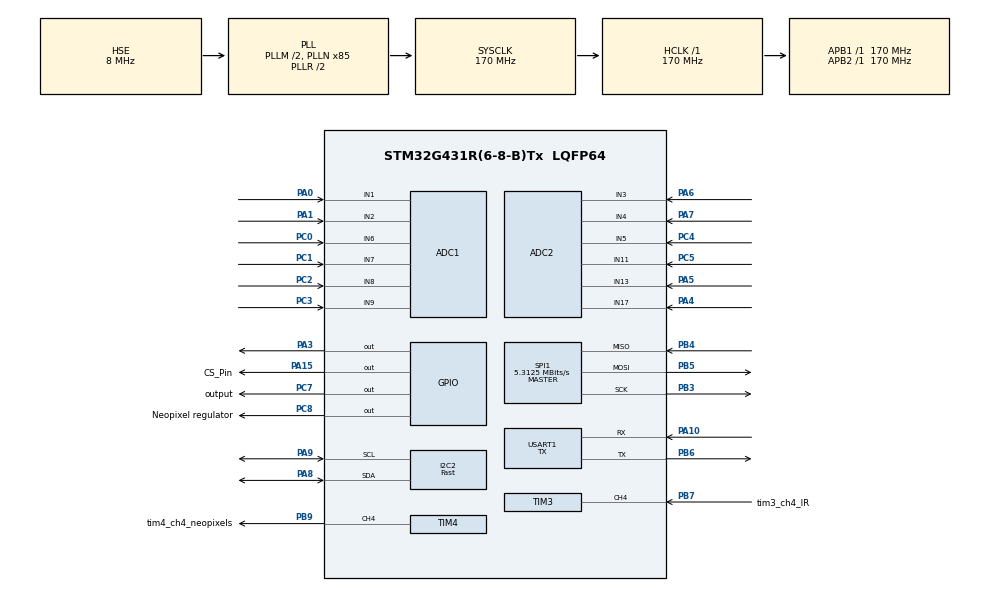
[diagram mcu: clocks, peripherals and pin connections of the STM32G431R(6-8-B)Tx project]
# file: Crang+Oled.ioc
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ADC1.Channel-0\#ChannelRegularConversion=ADC_CHANNEL_2
ADC1.Channel-1\#ChannelRegularConversion=ADC_CHANNEL_1
ADC1.Channel-2\#ChannelRegularConversion=ADC_CHANNEL_9
ADC1.Channel-3\#ChannelRegularConversion=ADC_CHANNEL_8
ADC1.Channel-4\#ChannelRegularConversion=ADC_CHANNEL_7
ADC1.Channel-5\#ChannelRegularConversion=ADC_CHANNEL_6
ADC1.ContinuousConvMode=DISABLE
ADC1.DMAContinuousRequests=ENABLE
ADC1.EOCSelection=ADC_EOC_SEQ_CONV
ADC1.ExternalTrigConv=ADC_EXTERNALTRIG_T1_TRGO
ADC1.Mode=ADC_MODE_INDEPENDENT
ADC1.NbrOfConversion=6
ADC1.NbrOfConversionFlag=1
ADC1.OffsetNumber-0\#ChannelRegularConversion=ADC_OFFSET_NONE
ADC1.OffsetNumber-1\#ChannelRegularConversion=ADC_OFFSET_NONE
ADC1.OffsetNumber-2\#ChannelRegularConversion=ADC_OFFSET_NONE
ADC1.OffsetNumber-3\#ChannelRegularConversion=ADC_OFFSET_NONE
ADC1.OffsetNumber-4\#ChannelRegularConversion=ADC_OFFSET_NONE
ADC1.OffsetNumber-5\#ChannelRegularConversion=ADC_OFFSET_NONE
ADC1.OversamplingMode=ENABLE
ADC1.Rank-0\#ChannelRegularConversion=1
ADC1.Rank-1\#ChannelRegularConversion=2
ADC1.Rank-2\#ChannelRegularConversion=3
ADC1.Rank-3\#ChannelRegularConversion=4
ADC1.Rank-4\#ChannelRegularConversion=5
ADC1.Rank-5\#ChannelRegularConversion=6
ADC1.Ratio=ADC_OVERSAMPLING_RATIO_16
ADC1.RightBitShift=ADC_RIGHTBITSHIFT_4
ADC1.SamplingTime-0\#ChannelRegularConversion=ADC_SAMPLETIME_2CYCLES_5
ADC1.SamplingTime-1\#ChannelRegularConversion=ADC_SAMPLETIME_2CYCLES_5
ADC1.SamplingTime-2\#ChannelRegularConversion=ADC_SAMPLETIME_2CYCLES_5
ADC1.SamplingTime-3\#ChannelRegularConversion=ADC_SAMPLETIME_2CYCLES_5
ADC1.SamplingTime-4\#ChannelRegularConversion=ADC_SAMPLETIME_2CYCLES_5
ADC1.SamplingTime-5\#ChannelRegularConversion=ADC_SAMPLETIME_2CYCLES_5
ADC1.master=1
ADC2.Channel-0\#ChannelRegularConversion=ADC_CHANNEL_11
ADC2.Channel-1\#ChannelRegularConversion=ADC_CHANNEL_5
ADC2.Channel-2\#ChannelRegularConversion=ADC_CHANNEL_4
ADC2.Channel-3\#ChannelRegularConversion=ADC_CHANNEL_3
ADC2.Channel-4\#ChannelRegularConversion=ADC_CHANNEL_13
ADC2.Channel-5\#ChannelRegularConversion=ADC_CHANNEL_17
ADC2.ContinuousConvMode=DISABLE
ADC2.DMAContinuousRequests=ENABLE
ADC2.EOCSelection=ADC_EOC_SEQ_CONV
ADC2.ExternalTrigConv=ADC_EXTERNALTRIG_T1_TRGO
ADC2.NbrOfConversion=6
ADC2.NbrOfConversionFlag=1
ADC2.OffsetNumber-0\#ChannelRegularConversion=ADC_OFFSET_NONE
ADC2.OffsetNumber-1\#ChannelRegularConversion=ADC_OFFSET_NONE
ADC2.OffsetNumber-2\#ChannelRegularConversion=ADC_OFFSET_NONE
ADC2.OffsetNumber-3\#ChannelRegularConversion=ADC_OFFSET_NONE
ADC2.OffsetNumber-4\#ChannelRegularConversion=ADC_OFFSET_NONE
ADC2.OffsetNumber-5\#ChannelRegularConversion=ADC_OFFSET_NONE
ADC2.OversamplingMode=ENABLE
ADC2.Rank-0\#ChannelRegularConversion=1
ADC2.Rank-1\#ChannelRegularConversion=2
ADC2.Rank-2\#ChannelRegularConversion=3
ADC2.Rank-3\#ChannelRegularConversion=4
ADC2.Rank-4\#ChannelRegularConversion=5
ADC2.Rank-5\#ChannelRegularConversion=6
ADC2.Ratio=ADC_OVERSAMPLING_RATIO_16
ADC2.RightBitShift=ADC_RIGHTBITSHIFT_4
ADC2.SamplingTime-0\#ChannelRegularConversion=ADC_SAMPLETIME_2CYCLES_5
ADC2.SamplingTime-1\#ChannelRegularConversion=ADC_SAMPLETIME_2CYCLES_5
ADC2.SamplingTime-2\#ChannelRegularConversion=ADC_SAMPLETIME_2CYCLES_5
ADC2.SamplingTime-3\#ChannelRegularConversion=ADC_SAMPLETIME_2CYCLES_5
ADC2.SamplingTime-4\#ChannelRegularConversion=ADC_SAMPLETIME_2CYCLES_5
ADC2.SamplingTime-5\#ChannelRegularConversion=ADC_SAMPLETIME_2CYCLES_5
Dma.ADC1.0.Direction=DMA_PERIPH_TO_MEMORY
Dma.ADC1.0.EventEnable=DISABLE
Dma.ADC1.0.Instance=DMA1_Channel1
Dma.ADC1.0.MemDataAlignment=DMA_MDATAALIGN_HALFWORD
Dma.ADC1.0.MemInc=DMA_MINC_ENABLE
Dma.ADC1.0.Mode=DMA_CIRCULAR
Dma.ADC1.0.PeriphDataAlignment=DMA_PDATAALIGN_HALFWORD
Dma.ADC1.0.PeriphInc=DMA_PINC_DISABLE
Dma.ADC1.0.Polarity=HAL_DMAMUX_REQ_GEN_RISING
Dma.ADC1.0.Priority=DMA_PRIORITY_HIGH
Dma.ADC1.0.RequestNumber=1
Dma.ADC1.0.SignalID=NONE
Dma.ADC1.0.SyncEnable=DISABLE
Dma.ADC1.0.SyncPolarity=HAL_DMAMUX_SYNC_NO_EVENT
Dma.ADC1.0.SyncRequestNumber=1
Dma.ADC1.0.SyncSignalID=NONE
Dma.ADC2.1.Direction=DMA_PERIPH_TO_MEMORY
Dma.ADC2.1.EventEnable=DISABLE
Dma.ADC2.1.Instance=DMA1_Channel2
Dma.ADC2.1.MemDataAlignment=DMA_MDATAALIGN_HALFWORD
Dma.ADC2.1.MemInc=DMA_MINC_ENABLE
Dma.ADC2.1.Mode=DMA_CIRCULAR
Dma.ADC2.1.PeriphDataAlignment=DMA_PDATAALIGN_HALFWORD
Dma.ADC2.1.PeriphInc=DMA_PINC_DISABLE
Dma.ADC2.1.Polarity=HAL_DMAMUX_REQ_GEN_RISING
Dma.ADC2.1.Priority=DMA_PRIORITY_HIGH
Dma.ADC2.1.RequestNumber=1
Dma.ADC2.1.SignalID=NONE
Dma.ADC2.1.SyncEnable=DISABLE
Dma.ADC2.1.SyncPolarity=HAL_DMAMUX_SYNC_NO_EVENT
Dma.ADC2.1.SyncRequestNumber=1
Dma.ADC2.1.SyncSignalID=NONE
Dma.Request0=ADC1
Dma.Request1=ADC2
Dma.Request2=TIM4_CH4
Dma.TIM4_CH4.2.Direction=DMA_MEMORY_TO_PERIPH
Dma.TIM4_CH4.2.EventEnable=DISABLE
Dma.TIM4_CH4.2.Instance=DMA1_Channel3
Dma.TIM4_CH4.2.MemDataAlignment=DMA_MDATAALIGN_HALFWORD
Dma.TIM4_CH4.2.MemInc=DMA_MINC_ENABLE
Dma.TIM4_CH4.2.Mode=DMA_NORMAL
Dma.TIM4_CH4.2.PeriphDataAlignment=DMA_PDATAALIGN_HALFWORD
Dma.TIM4_CH4.2.PeriphInc=DMA_PINC_DISABLE
Dma.TIM4_CH4.2.Polarity=HAL_DMAMUX_REQ_GEN_RISING
Dma.TIM4_CH4.2.Priority=DMA_PRIORITY_HIGH
Dma.TIM4_CH4.2.RequestNumber=1
Dma.TIM4_CH4.2.SignalID=NONE
Dma.TIM4_CH4.2.SyncEnable=DISABLE
Dma.TIM4_CH4.2.SyncPolarity=HAL_DMAMUX_SYNC_NO_EVENT
Dma.TIM4_CH4.2.SyncRequestNumber=1
Dma.TIM4_CH4.2.SyncSignalID=NONE
I2C2.I2C_Speed_Mode=I2C_Fast
I2C2.Timing=0x40621236
Mcu.Family=STM32G4
Mcu.Name=STM32G431R(6-8-B)Tx
Mcu.Package=LQFP64
NVIC.ADC1_2_IRQn=true\:4\:0\:true\:false\:true\:true\:true\:true
NVIC.DMA1_Channel1_IRQn=true\:2\:0\:true\:false\:true\:false\:true\:true
NVIC.DMA1_Channel2_IRQn=true\:2\:0\:true\:false\:true\:false\:true\:true
NVIC.DMA1_Channel3_IRQn=true\:3\:0\:true\:false\:true\:false\:true\:true
NVIC.PriorityGroup=NVIC_PRIORITYGROUP_4
NVIC.TIM1_TRG_COM_TIM17_IRQn=true\:0\:0\:false\:false\:true\:true\:true\:true
NVIC.TIM2_IRQn=true\:10\:0\:true\:false\:true\:true\:true\:true
NVIC.TIM3_IRQn=true\:5\:0\:true\:false\:true\:true\:true\:true
PA0.Mode=IN1-Single-Ended
PA0.Signal=ADC1_IN1
PA1.Mode=IN2-Single-Ended
PA1.Signal=ADC1_IN2
PA10.Mode=Asynchronous
PA10.Signal=USART1_RX
PA15.GPIO_Label=CS_Pin
PA15.Signal=GPIO_Output
PA3.Signal=GPIO_Output
PA4.Mode=IN17-Single-Ended
PA4.Signal=ADC2_IN17
PA5.Mode=IN13-Single-Ended
PA5.Signal=ADC2_IN13
PA6.Mode=IN3-Single-Ended
PA6.Signal=ADC2_IN3
PA7.Mode=IN4-Single-Ended
PA7.Signal=ADC2_IN4
PA8.Mode=I2C
PA8.Signal=I2C2_SDA
PA9.Mode=I2C
PA9.Signal=I2C2_SCL
PB3.Mode=Full_Duplex_Master
PB3.Signal=SPI1_SCK
PB4.Mode=Full_Duplex_Master
PB4.Signal=SPI1_MISO
PB5.Mode=Full_Duplex_Master
PB5.Signal=SPI1_MOSI
PB6.Mode=Asynchronous
PB6.Signal=USART1_TX
PB7.GPIO_Label=tim3_ch4_IR
PB7.Signal=S_TIM3_CH4
PB9.GPIO_Label=tim4_ch4_neopixels
PB9.Signal=S_TIM4_CH4
PC0.Mode=IN6-Single-Ended
PC0.Signal=ADC1_IN6
PC1.Mode=IN7-Single-Ended
PC1.Signal=ADC1_IN7
PC2.Mode=IN8-Single-Ended
PC2.Signal=ADC1_IN8
PC3.Mode=IN9-Single-Ended
PC3.Signal=ADC1_IN9
PC4.Mode=IN5-Single-Ended
PC4.Signal=ADC2_IN5
PC5.Mode=IN11-Single-Ended
PC5.Signal=ADC2_IN11
PC7.GPIO_Label=output
PC7.Signal=GPIO_Output
PC8.GPIO_Label=Neopixel regulator
PC8.Signal=GPIO_Output
PF0-OSC_IN.Mode=HSE-External-Oscillator
PF0-OSC_IN.Signal=RCC_OSC_IN
PF1-OSC_OUT.Mode=HSE-External-Oscillator
PF1-OSC_OUT.Signal=RCC_OSC_OUT
ProjectManager.HeapSize=0x200
ProjectManager.StackSize=0x400
ProjectManager.TargetToolchain=STM32CubeIDE
RCC.ADC12Freq_Value=170000000
RCC.AHBFreq_Value=170000000
RCC.APB1Freq_Value=170000000
RCC.APB1TimFreq_Value=170000000
RCC.APB2Freq_Value=170000000
RCC.APB2TimFreq_Value=170000000
RCC.CortexFreq_Value=170000000
RCC.EXTERNAL_CLOCK_VALUE=12288000
RCC.HCLKFreq_Value=170000000
RCC.HSE_VALUE=8000000
RCC.HSI48_VALUE=48000000
RCC.HSI_VALUE=16000000
RCC.LSE_VALUE=32768
RCC.PLLM=RCC_PLLM_DIV2
RCC.PLLN=85
RCC.PLLSourceVirtual=RCC_PLLSOURCE_HSE
RCC.SYSCLKFreq_VALUE=170000000
RCC.SYSCLKSource=RCC_SYSCLKSOURCE_PLLCLK
RCC.USBFreq_Value=170000000
RCC.VCOOutputFreq_Value=340000000
SH.S_TIM3_CH4.0=TIM3_CH4,Input_Capture4_from_TI4
SH.S_TIM4_CH4.0=TIM4_CH4,PWM Generation4 CH4
SPI1.BaudRatePrescaler=SPI_BAUDRATEPRESCALER_32
SPI1.CalculateBaudRate=5.3125 MBits/s
SPI1.Direction=SPI_DIRECTION_2LINES
SPI1.Mode=SPI_MODE_MASTER
SPI1.VirtualType=VM_MASTER
TIM1.PeriodNoDither=100
TIM1.Prescaler=170-1
TIM1.TIM_MasterOutputTrigger=TIM_TRGO_UPDATE
TIM2.AutoReloadPreload=TIM_AUTORELOAD_PRELOAD_DISABLE
TIM2.PeriodNoDither=10000
TIM2.Prescaler=1700-1
TIM3.Channel-Input_Capture4_from_TI4=TIM_CHANNEL_4
TIM3.ICPolarity_CH4=TIM_INPUTCHANNELPOLARITY_BOTHEDGE
TIM3.Prescaler=1700-1
TIM4.Channel-PWM\ Generation4\ CH4=TIM_CHANNEL_4
TIM4.PeriodNoDither=3-1
TIM4.Prescaler=70-1
USART1.Mode=MODE_TX
USART1.VirtualMode-Asynchronous=VM_ASYNC
VP_SYS_VS_DBSignals.Mode=DisableDeadBatterySignals
VP_TIM1_VS_ClockSourceINT.Mode=Internal
VP_TIM2_VS_ClockSourceINT.Mode=Internal
VP_TIM3_VS_ClockSourceINT.Mode=Internal
VP_TIM4_VS_ClockSourceINT.Mode=Internal
board=custom

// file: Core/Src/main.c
/* USER CODE BEGIN Header */
/**
 ******************************************************************************
 * @file           : main.c
 * @brief          : Main program body
 ******************************************************************************
 * @attention
 *
 * Copyright (c) 2025 STMicroelectronics.
 * All rights reserved.
 *
 * This software is licensed under terms that can be found in the LICENSE file
 * in the root directory of this software component.
 * If no LICENSE file comes with this software, it is provided AS-IS.
 *
 ******************************************************************************
 */
/* USER CODE END Header */
#include "main.h"
#include "adc.h"
#include "dma.h"
#include "i2c.h"
#include "spi.h"
#include "tim.h"
#include "usart.h"
#include "gpio.h"

/* USER CODE BEGIN Includes */

#include <stdbool.h>  //For bool
#include "yarn_states.h"
#include "Led_states.h"
#include "ir_decoder.h"
#include "ws2812.h"
#include "fonts.h"
#include "ssd1306.h"
#include "bitmap.h"
#include "manage_OLED.h"
#include <stdio.h> // For sprintf
#include <stdint.h>

/* USER CODE END Includes */

/* USER CODE BEGIN PM */
#define OUTPUT_Pin GPIO_PIN_7
#define OUTPUT_GPIO_Port GPIOC
//SPI--> adjusting transmitter power
#define CS_GPIO_PORT GPIOA
#define CS_PIN GPIO_PIN_15
extern SPI_HandleTypeDef hspi1; // Generated by CubeMX
/* USER CODE END PM */

/* USER CODE BEGIN PV */

volatile uint16_t adc1_data[6];
volatile uint16_t adc2_data[6];
volatile uint8_t command = 100; // Global variable
volatile uint8_t newIRDataFlag = 0;
volatile uint8_t FlagCheckState = 0;    // Flag to trigger 600 ms task
volatile uint8_t FlagLedState = 0;    // Flag to trigger 100 ms task
volatile uint8_t overFlowFlag; // this counter goes to 10 to create 1 sec from 10ms, in case we need blink in neopixels
bool IRreceive = 0;
bool IRreceivePre = 0;
bool out_command = 0;  // خروجی 24 ولت است
bool outCircuit = 0;  // once is set to 1, the sensor output is low
bool outCircuitPre = 0;
bool outHigh = 0;  // outHigh =1 means out put is high
volatile uint8_t ledColor; // 0: led off, 1: dirt1, 2:dirt2, 3:flaw, 4: torn, 5:Outcircuit
volatile uint8_t flaw_ind[12] = { 0 }; // A vector contains all channles with flaw state
volatile uint8_t dirt_ind[12] = { 0 }; // A vector contains all channles with dirt state
uint8_t cnt_flaw = 0;         // number of channels with flaw state
uint8_t cnt_dirt = 0;		  // number of channels with dirt state
bool torn_stat;
bool torn_statPre;
int int_calib = 600, calib_tim = 5000; // for 5000 sec we compute threshold every 600ms, since the decision function is 600ms
bool all_off = 1;
volatile uint8_t ind = 0;    // define index of led
volatile bool direc = 1; //0= backward, 1= forward  direction of led getting on
bool Blink = 1;
uint16_t wr_buf[WR_BUF_LEN] = { 0 };
uint8_t rgb_arr[3 * num_led] = { 0 };
bool anyUpdate;   // if any channel changes in state
uint8_t indec;
bool first_comp = 1; // if sensors are read for the first time we set the max and min to their reset values
bool flag = 1;
uint32_t counter;
uint8_t Oled_statePre, Oled_state;  // 123: dirt & flaw, 4: torn, 5: out circuit

uint8_t i_cnt_dirt;	// if the oled display is full we need to save the indices (which are not shown) in i_cnt_dirt
uint8_t i_cnt_flaw; // and i_cnt_flaw to display them in the next page after 2 sec
bool elapsed = 1;  // after counter_oled reached 20, elapsed gets 1
uint8_t blink_oled; // to change the page in oled, 0,1,2 are the first, second and third page.
uint8_t blink_oledPre = 100;
uint8_t counter_oled; // the main oled function (decide_Oled) is every 100ms. so counter_oled counts to 20 to make 2 second between two pages

//uint8_t transmitter_power = 255;
//bool rise = 1;

/* USER CODE END PV */

void SystemClock_Config(void);
/* USER CODE BEGIN PFP */
//tasks after each adc read (50us) adjusted by tim1
//the max and min perturbation between all reads (every 50us) are computed
void HAL_ADC_ConvCpltCallback(ADC_HandleTypeDef *hadc) {
	if (first_comp == 1) {
		first_comp = 0;
		for (int i = 0; i < NUM_YARN; i++) {
			yarn[i].minim = (1 << 12) - 1;
			yarn[i].maxim = 0;
		}
	}
	if (hadc->Instance == ADC2) {
		for (int i = 0; i < NUM_YARN / 2; i++) {
			yarn[i].read_sens = adc2_data[i];
			comp_thresh_perturb(&yarn[i]);
		}
	} else if (hadc->Instance == ADC1) {
		for (int i = NUM_YARN / 2; i < NUM_YARN; i++) {
			yarn[i].read_sens = adc1_data[i - 6];
			comp_thresh_perturb(&yarn[i]);
		}
	}
}
//tim2 , neopixels 100ms,check state 600ms
void HAL_TIM_PeriodElapsedCallback(TIM_HandleTypeDef *htim) {

	if (htim->Instance == TIM2) {
		FlagLedState = 1;
		counter++;
		if (counter > 5) {  // counts to create 600ms
			counter = 0;
			FlagCheckState = 1;
		}
	}

}

//manage leds (100ms)
void manageLed(void) {

	if (Oled_statePre != Oled_state) {
		blink_oled = 0;
		blink_oledPre = 100;
		elapsed = 1;
	}
	decide_Oled();

	Oled_statePre = Oled_state;
	//decide torn_stat
	torn_stat = 0;
	for (int i = 0; i < NUM_YARN; i++)
		torn_stat = torn_stat || yarn[i].torn;

	// define the output
	if (torn_stat)
		outHigh = 1;
	else
		outHigh = 0;

	//decide all_off leds
	all_off = 1;
	for (int i = 0; i < NUM_YARN; i++)
		all_off = all_off && (yarn[i].ledState == 0);

	if (outCircuit == 1) {
		torn_stat = 0;
		if (outCircuitPre == 0) {
			flush();
			if (HAL_GPIO_ReadPin(GPIOC, GPIO_PIN_8) == GPIO_PIN_SET) //if off
				HAL_GPIO_WritePin(GPIOC, GPIO_PIN_8, GPIO_PIN_RESET); // make on
			ind = 0;
			direc = 1;
			ledColor = 5;
			Oled_state = 5;
		}
		if (direc == 1) {
			led_set_RGB(ind, LED[ledColor].red, LED[ledColor].green,
					LED[ledColor].blue);
			fillBuffer(ind);

			ind++;

		} else {
			ind--;
			led_set_RGB(ind, 0, 0, 0);
			fillBuffer(ind);

		}
		if (ind == num_led && direc == 1)
			direc = 0;
		else if (ind == 0 && direc == 0) {
			direc = 1;

		}
		led_render();
		//---------------
	} else if (torn_stat == 1) {
		if (torn_statPre == 0) {
			flag = 0;
			flush();
			for (int i = 0; i < num_led; i++) {
				ledColor = yarn[i].ledState;
				if (yarn[i].ledState == 4) {
					led_set_RGB(i, LED[ledColor].red, LED[ledColor].green,
							LED[ledColor].blue);
					indec = i;
					fillBuffer(i);
				} else
					led_set_RGB(i, 0, 0, 0);
			}
			Oled_state = 4;
		}

		if (overFlowFlag > 10) {
			overFlowFlag = 0;
			if (Blink == 1) {
				if (HAL_GPIO_ReadPin(GPIOC, GPIO_PIN_8) == GPIO_PIN_SET) //if off
					HAL_GPIO_WritePin(GPIOC, GPIO_PIN_8, GPIO_PIN_RESET); // make on
			} else
				HAL_GPIO_WritePin(GPIOC, GPIO_PIN_8, GPIO_PIN_SET);

			Blink = !Blink;
		}

		led_render();
		//---------------
	} else if (all_off == 1) {
		Oled_state = 0;
		if (HAL_GPIO_ReadPin(GPIOC, GPIO_PIN_8) == GPIO_PIN_RESET) //if on
			HAL_GPIO_WritePin(GPIOC, GPIO_PIN_8, GPIO_PIN_SET); // make off
	} else {
		//---------------flaw, dirt1, dirt2
		anyUpdate = 0;
		cnt_flaw = 0;
		cnt_dirt = 0;
		Oled_state = 123;
		for (int i = 0; i < num_led; i++) {
			dirt_ind[i] = 0;
			flaw_ind[i] = 0;
		}
		for (uint8_t i = 0; i < num_led; i++) {
			anyUpdate = anyUpdate || (yarn[i].ledState != yarn[i].ledStatePre);
		}
		if (anyUpdate) {
			flush();
			for (int i = 0; i < num_led; i++) {
				ledColor = yarn[i].ledState;
				led_set_RGB(i, LED[ledColor].red, LED[ledColor].green,
						LED[ledColor].blue);
			}
			fillBufferAll();
			for (int i = 0; i < num_led; i++) {
				if (yarn[i].ledState == 1 || yarn[i].ledState == 2) {
					dirt_ind[cnt_dirt] = i + 1;
					cnt_dirt++;
				}
				if (yarn[i].ledState == 3) {
					flaw_ind[cnt_flaw] = i + 1;
					cnt_flaw++;
				}
			}
		}

		if (overFlowFlag > 10) {
			overFlowFlag = 0;
			if (Blink == 1) {
				if (HAL_GPIO_ReadPin(GPIOC, GPIO_PIN_8) == GPIO_PIN_SET) //if off
					HAL_GPIO_WritePin(GPIOC, GPIO_PIN_8, GPIO_PIN_RESET); // make on

			} else
				HAL_GPIO_WritePin(GPIOC, GPIO_PIN_8, GPIO_PIN_SET);

			Blink = !Blink;
		}
		led_render();
	}
	outCircuitPre = outCircuit;
	torn_statPre = torn_stat;
	for (int i = 0; i < num_led; i++)
		yarn[i].ledStatePre = yarn[i].ledState;
}

//decision function (600ms)
void CheckState(void) {
	if (IRreceive == 0) {
		for (int i = 0; i < NUM_YARN; i++)
			yarn_state(&yarn[i]);
	}
}

//SPI--> adjust transmitter power
void MCP41010_Write(uint8_t value) {
	uint8_t data[2];
	data[0] = 0x11; // Write command for Pot 0
	data[1] = value; // Wiper position (0 to 255)

	// Pull CS low to start communication
	HAL_GPIO_WritePin(CS_GPIO_PORT, CS_PIN, GPIO_PIN_RESET);

	// Send the 16-bit command (2 bytes)
	HAL_SPI_Transmit(&hspi1, data, 2, HAL_MAX_DELAY);

	// Pull CS high to end communication
	HAL_GPIO_WritePin(CS_GPIO_PORT, CS_PIN, GPIO_PIN_SET);
}
/* USER CODE END PFP */

int main(void)
{

  /* MCU Configuration--------------------------------------------------------*/

  /* Reset of all peripherals, Initializes the Flash interface and the Systick. */
  HAL_Init();

  /* Configure the system clock */
  SystemClock_Config();

  /* Initialize all configured peripherals */
  MX_GPIO_Init();
  MX_DMA_Init();
  MX_ADC1_Init();
  MX_ADC2_Init();
  MX_TIM1_Init();
  MX_TIM4_Init();
  MX_USART1_UART_Init();
  MX_TIM3_Init();
  MX_TIM2_Init();
  MX_I2C2_Init();
  MX_SPI1_Init();
  /* USER CODE BEGIN 2 */
	//Show LOGO
//	SSD1306_Init();
//	SSD1306_DrawBitmap(0, 0, logo, 128, 32, 1); // x=0, y=0, width=128, height=32, color=white
//	SSD1306_UpdateScreen(); // Update display to show the bitmap

	//start timers
	HAL_TIM_Base_Start_IT(&htim2);

	IR_Init();
// Calibrate ADCs
	HAL_ADCEx_Calibration_Start(&hadc1, ADC_SINGLE_ENDED);
	HAL_ADCEx_Calibration_Start(&hadc2, ADC_SINGLE_ENDED);
//
//	Start ADCs in independent mode
	HAL_ADC_Start_DMA(&hadc1, (uint32_t*) adc1_data, 6);
	HAL_ADC_Start_DMA(&hadc2, (uint32_t*) adc2_data, 6);
	HAL_TIM_Base_Start(&htim1);
//

	setup_param(&LED[0], 0, 0, 0); //led off
	setup_param(&LED[1], 249, 114, 111); //dirt1
	setup_param(&LED[2], 250, 0, 0); //dirt2
	setup_param(&LED[3], 0, 0, 250); //flaw
	setup_param(&LED[4], 0, 230, 80); //tron
	setup_param(&LED[5], 0, 250, 0); //outcircuit

// Make sure PB3 is high when sending data to neopixels
	HAL_GPIO_WritePin(GPIOC, GPIO_PIN_8, GPIO_PIN_RESET);
//Start Alarm
	rainbow(10);
	HAL_GPIO_WritePin(GPIOC, GPIO_PIN_8, GPIO_PIN_SET);

	SSD1306_Fill(0);
	SSD1306_GotoXY(0, 0);
	SSD1306_Puts("Calibration", &Font_7x10, 1);
	SSD1306_GotoXY(0, 15);
	SSD1306_Puts("Started!", &Font_7x10, 1);
	SSD1306_UpdateScreen();
//	Calibration
	for (int i = 0; i < NUM_YARN; i++) {
		yarn[i].minim = (1 << 12) - 1;
		yarn[i].maxim = 0;
	}
	uint32_t axtim_calib, calib_end;
	uint32_t tim_now = HAL_GetTick();
	calib_end = tim_now + calib_tim;
//	while (tim_now <= calib_end) {
//
//		for (int i = 0; i < NUM_YARN; i++)
//			calibration(&yarn[i]);
//
//		if (HAL_GetTick() - axtim_calib > int_calib) {
//			axtim_calib = HAL_GetTick();
//			for (int i = 0; i < NUM_YARN; i++)
//				resetCalibration(&yarn[i]);
//		}
//		tim_now = HAL_GetTick();
//	}
	flush();
	HAL_GPIO_WritePin(GPIOC, GPIO_PIN_8, GPIO_PIN_RESET);
	//End of Calibration

	SSD1306_Fill(0);
	SSD1306_GotoXY(0, 0);
	SSD1306_Puts("Calibration", &Font_7x10, 1);
	SSD1306_GotoXY(0, 15);
	SSD1306_Puts("Done!", &Font_7x10, 1);
	SSD1306_UpdateScreen();

//	fadeNeopixels();
	HAL_GPIO_WritePin(GPIOC, GPIO_PIN_8, GPIO_PIN_SET);

//	MCP41010_Write(5);
  /* USER CODE END 2 */

  /* Infinite loop */
	while (1) {

    /* USER CODE BEGIN 3 */
		//Write output
		if (outHigh)
			HAL_GPIO_WritePin(OUTPUT_GPIO_Port, OUTPUT_Pin, GPIO_PIN_SET);
		else
			HAL_GPIO_WritePin(OUTPUT_GPIO_Port, OUTPUT_Pin, GPIO_PIN_RESET);

		///define the transmitters' power
		MCP41010_Write(0);
//		MCP41010_Write(transmitter_power);
		char msg[128];
//		sprintf(msg, "%4u,%4u, %4u,%4u, %4u \r\n", Oled_state, blink_oledPre,
//				blink_oled, counter_oled, elapsed);
//		sprintf(msg,
//				"%4u, %4u, %4u, %4u \r\n",Oled_state,yarn[0].read_sens,yarn[0].per,yarn[0].threshold);

//		sprintf(msg, "%4u ,%4u \r\n", yarn[0].read_sens
//				, transmitter_power);
//		HAL_UART_Transmit(&huart1, (uint8_t*) msg, strlen(msg), 10);

//		sprintf(msg,
//				"%4u, %4u, %4u, %4u, %4u, %4u, %4u, %4u, %4u, %4u, %4u, %4u \r\n",
//				yarn[0].read_sens, yarn[1].read_sens, yarn[2].read_sens,
//				yarn[3].read_sens, yarn[4].read_sens, yarn[5].read_sens,
//				yarn[6].read_sens, yarn[7].read_sens, yarn[8].read_sens,
//				yarn[9].read_sens, yarn[10].read_sens, yarn[11].read_sens);

		sprintf(msg, "%4u,%4u \r\n", yarn[0].read_sens,yarn[0].per);

		HAL_UART_Transmit(&huart1, (uint8_t*) msg, strlen(msg), 10);
//		HAL_Delay(10); // Slow down to avoid UART overrun

		if (FlagCheckState) {
			FlagCheckState = 0;    // Clear flag
			CheckState(); // Execute 600 ms task
		}
		if (FlagLedState == true) {
			FlagLedState = false;
			manageLed();
			overFlowFlag++;
		}

//   	IR Manage
		if (newIRDataFlag == 1) {
			command = (IR_GetCommand() >> 8) & 0xFF; // Update command first
			IR_Reset(); // Clear detection flag
		}

		if (command == 0x00) {
			IRreceivePre = IRreceive;
			IRreceive = 1;
			if (IRreceive != IRreceivePre) {
				outCircuit = !outCircuit;
			}
			command = 100; // Prevent re-triggering
		} else
			IRreceive = 0;

		__WFI();
	}
  /* USER CODE END 3 */
}

void SystemClock_Config(void)
{
  RCC_OscInitTypeDef RCC_OscInitStruct = {0};
  RCC_ClkInitTypeDef RCC_ClkInitStruct = {0};

  /** Configure the main internal regulator output voltage
  */
  HAL_PWREx_ControlVoltageScaling(PWR_REGULATOR_VOLTAGE_SCALE1_BOOST);

  /** Initializes the RCC Oscillators according to the specified parameters
  * in the RCC_OscInitTypeDef structure.
  */
  RCC_OscInitStruct.OscillatorType = RCC_OSCILLATORTYPE_HSE;
  RCC_OscInitStruct.HSEState = RCC_HSE_ON;
  RCC_OscInitStruct.PLL.PLLState = RCC_PLL_ON;
  RCC_OscInitStruct.PLL.PLLSource = RCC_PLLSOURCE_HSE;
  RCC_OscInitStruct.PLL.PLLM = RCC_PLLM_DIV2;
  RCC_OscInitStruct.PLL.PLLN = 85;
  RCC_OscInitStruct.PLL.PLLP = RCC_PLLP_DIV2;
  RCC_OscInitStruct.PLL.PLLQ = RCC_PLLQ_DIV2;
  RCC_OscInitStruct.PLL.PLLR = RCC_PLLR_DIV2;
  if (HAL_RCC_OscConfig(&RCC_OscInitStruct) != HAL_OK)
  {
    Error_Handler();
  }

  /** Initializes the CPU, AHB and APB buses clocks
  */
  RCC_ClkInitStruct.ClockType = RCC_CLOCKTYPE_HCLK|RCC_CLOCKTYPE_SYSCLK
                              |RCC_CLOCKTYPE_PCLK1|RCC_CLOCKTYPE_PCLK2;
  RCC_ClkInitStruct.SYSCLKSource = RCC_SYSCLKSOURCE_PLLCLK;
  RCC_ClkInitStruct.AHBCLKDivider = RCC_SYSCLK_DIV1;
  RCC_ClkInitStruct.APB1CLKDivider = RCC_HCLK_DIV1;
  RCC_ClkInitStruct.APB2CLKDivider = RCC_HCLK_DIV1;

  if (HAL_RCC_ClockConfig(&RCC_ClkInitStruct, FLASH_LATENCY_4) != HAL_OK)
  {
    Error_Handler();
  }
}

void Error_Handler(void)
{
	__disable_irq();
	while (1) {
	}
}
